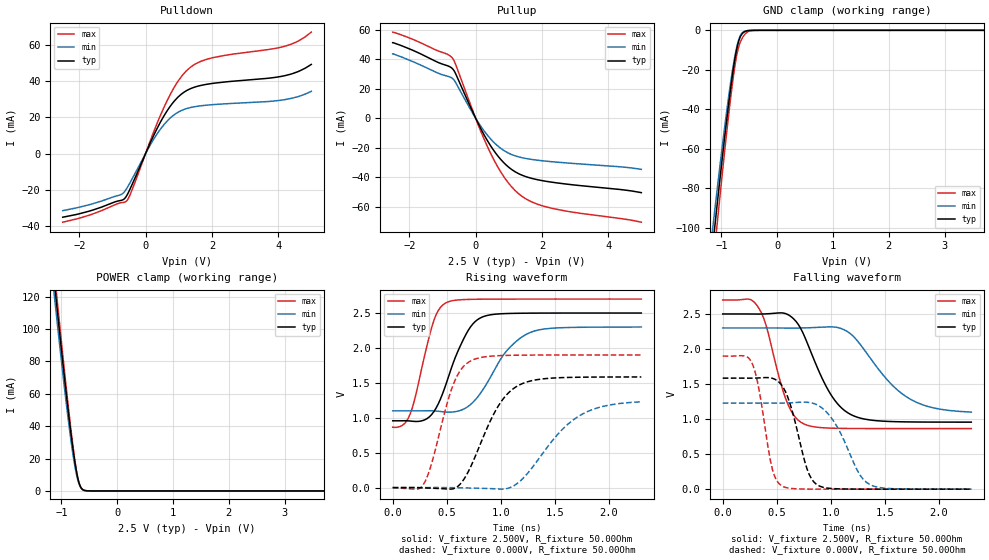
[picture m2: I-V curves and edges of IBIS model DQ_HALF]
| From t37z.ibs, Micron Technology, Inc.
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|   MODEL DQ_HALF
[Model]   DQ_HALF
Model_type   I/O
Vinl = 0.940V
Vinh = 1.560V
Vmeas = 1.250V
Vref = 1.250V
Cref = 30.000pF
Rref = 50.000Ohm
|   typ   min   max
C_comp   3.01pF   2.84pF   3.18pF
[Model Spec]
| Input threshold voltage corners
Vinh   1.560V   1.460V   1.660V
Vinl   0.940V   0.840V   1.040V
| Measurement voltage corners
Vmeas   1.250V   1.150V   1.350V
| Timing spec test load voltage corners
Vref   1.250V   1.150V   1.350V
| Overshoot/Undershoot
S_overshoot_high   2.800V   2.600V   3.000V
S_overshoot_low   -0.300V   NA   NA
[Receiver Thresholds]
Vth   =  1.250V
Vth_min  =  1.225V
Vth_max  =  1.275V
Vinh_ac  =  0.310V
Vinh_dc  =  0.150V
Vinl_ac  = -0.310V
Vinl_dc  = -0.150V
Tslew_ac =  10.000ns |Not specified, so set to high value
[Voltage Range]   2.500V   2.300V   2.700V
| Junction Temperature (Ambient temp is 25C typ, 70C min, 0C max)
[Temperature Range]   40.0   85.0   0.0
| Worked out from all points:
|   slope of the pulldown table from 0 to 0.375 V, typ, clamps not added: 25.2 ohm
|   slope of the pullup table from 0 to 0.375 V, typ, clamps not added: 23.5 ohm
|   GND clamp passes 1 mA (typ) near -0.60 V on its own axis
|   POWER clamp passes 1 mA (typ) near -0.62 V on its own axis
|   falling waveform, V_fixture 2.500V, R_fixture 50.00Ohm: 20-80 % time 285ps typ, 404ps min, 196ps max; typ from 2.5 V to 0.956 V
|   rising waveform, V_fixture 2.500V, R_fixture 50.00Ohm: 20-80 % time 236ps typ, 312ps min, 171ps max; typ from 0.956 V to 2.5 V
|   rising waveform, V_fixture 0.000V, R_fixture 50.00Ohm: 20-80 % time 294ps typ, 413ps min, 205ps max; typ from 0 V to 1.58 V
|   falling waveform, V_fixture 0.000V, R_fixture 50.00Ohm: 20-80 % time 162ps typ, 232ps min, 122ps max; typ from 1.58 V to 0 V
[Pulldown]
|   Voltage   I(typ)   I(min)   I(max)
-2.5V     -35.26mA   -31.62mA   -38.02mA
-1.685V   -31.82mA   -28.27mA   -34.04mA
-780mV    -26.09mA   -22.99mA   -27.38mA
-555mV    -22.86mA   -18.91mA   -25.88mA
-315mV    -13.38mA   -10.93mA   -15.69mA
175mV     7.318mA    5.83mA     8.702mA
575mV     21.49mA    16.46mA    26.39mA
985mV     31.39mA    22.95mA    40.23mA
1.38V     36.15mA    25.6mA     48.17mA
2.08V     39.02mA    27.18mA    53.33mA
4.225V    43.26mA    29.96mA    59.6mA
5V        49.41mA    34.49mA    67.3mA
[GND Clamp]
|   Voltage   I(typ)   I(min)   I(max)
-2.5V     -499.1mA   -469.6mA   -532.1mA
-1.155V   -109.1mA   -100.1mA   -120.6mA
-1.14V    -105.1mA   -96.31mA   -116.2mA
-1.105V   -95.8mA    -87.63mA   -106.2mA
-1.075V   -87.89mA   -80.28mA   -97.74mA
-900mV    -44.05mA   -39.81mA   -50.3mA
-775mV    -17.37mA   -15.58mA   -21.15mA
-725mV    -9.378mA   -8.378mA   -12.51mA
-685mV    -4.955mA   -4.326mA   -7.849mA
-595mV    -860.4uA   -613.7uA   -2.522mA
-372mV    0A         NA         NA
5V        0A         0A         0A
[Pullup]
|   Voltage   I(typ)   I(min)   I(max)
-2.5V     51.17mA    43.56mA    58.29mA
-855mV    35.56mA    28.43mA    43.36mA
-695mV    33.45mA    26.85mA    40.57mA
-595mV    29.76mA    23.83mA    35.99mA
75mV      -3.507mA   -2.715mA   -4.349mA
475mV     -19.54mA   -14.67mA   -24.88mA
675mV     -25.79mA   -19.01mA   -33.33mA
915mV     -31.68mA   -22.83mA   -41.75mA
1.355V    -38.31mA   -26.64mA   -52.31mA
1.725V    -41.08mA   -28.16mA   -57.17mA
2.265V    -43.38mA   -29.52mA   -60.99mA
5V        -50.58mA   -34.78mA   -70.62mA
[POWER Clamp]
|   Voltage   I(typ)   I(min)   I(max)
-2.5V     628.5mA    605.5mA    653.4mA
-1.125V   128.4mA    119.9mA    134.8mA
-1.105V   121.6mA    113.4mA    127.8mA
-1.075V   111.7mA    103.8mA    117.5mA
-910mV    58.85mA    53.16mA    62.53mA
-845mV    39.76mA    35.21mA    42.43mA
-795mV    26.35mA    22.87mA    28.15mA
-745mV    14.79mA    12.59mA    15.65mA
-695mV    6.281mA    5.382mA    6.31mA
-655mV    2.406mA    2.203mA    2.169mA
-605mV    548.9uA    591.9uA    405.1uA
5V        0A         0A         0A
[Ramp]
R_load = 50.00Ohm
|   typ   min   max
dV/dt_r   950.712mV/293.784ps 737.360mV/412.871ps   1.140V/205.287ps
dV/dt_f   926.171mV/284.978ps 720.190mV/404.068ps   1.101V/195.799ps
[Falling Waveform]
V_fixture = 2.500V
V_fixture_min = 2.300V
V_fixture_max = 2.700V
R_fixture = 50.00Ohm
|   Time   V(typ)   V(min)   V(max)
0s        2.5V       2.3V       2.7V
240ps     2.5V       2.3V       2.713V
330ps     2.499V     2.3V       2.593V
400ps     2.501V     2.3V       2.344V
590ps     2.5V       2.299V     1.263V
740ps     2.237V     2.3V       939.7mV
980ps     1.403V     2.315V     872mV
1.18ns    1.069V     2.22V      865.9mV
1.71ns    959.8mV    1.308V     864.4mV
2.3ns     956.4mV    1.1V       864.4mV
[Rising Waveform]
V_fixture = 2.500V
V_fixture_min = 2.300V
V_fixture_max = 2.700V
R_fixture = 50.00Ohm
|   Time   V(typ)   V(min)   V(max)
0s        956.4mV    1.1V       864.4mV
90ps      957mV      1.1V       892.4mV
160ps     953.6mV    1.1V       1.05V
380ps     1.086V     1.099V     2.39V
500ps     1.512V     1.082V     2.652V
680ps     2.201V     1.145V     2.694V
840ps     2.45V      1.416V     2.698V
1.04ns    2.492V     1.931V     2.7V
1.27ns    2.498V     2.22V      2.7V
2.3ns     2.5V       2.3V       2.7V
[Rising Waveform]
V_fixture = 0.000V
V_fixture_min = 0.000V
V_fixture_max = 0.000V
R_fixture = 50.00Ohm
|   Time   V(typ)   V(min)   V(max)
0s        -42.28uV   -51.96uV   -35.58uV
280ps     -3.879mV   -175.4uV   36.64mV
360ps     -8.532mV   837.5uV    344mV
560ps     -17.33mV   -1.165mV   1.475V
720ps     293.9mV    -6.14mV    1.813V
960ps     1.125V     -18.46mV   1.888V
1.16ns    1.46V      68.65mV    1.896V
1.52ns    1.572V     751.3mV    1.899V
1.71ns    1.58V      1.012V     1.899V
2.3ns     1.584V     1.229V     1.899V
[Falling Waveform]
V_fixture = 0.000V
V_fixture_min = 0.000V
V_fixture_max = 0.000V
R_fixture = 50.00Ohm
|   Time   V(typ)   V(min)   V(max)
0s        1.584V     1.229V     1.899V
270ps     1.584V     1.229V     1.801V
340ps     1.588V     1.229V     1.386V
460ps     1.582V     1.229V     280.5mV
560ps     1.451V     1.229V     36.34mV
780ps     289.6mV    1.24V      1.696mV
880ps     56.4mV     1.198V     608.6uV
1.04ns    6.554mV    938.5mV    115.2uV
1.36ns    387.8uV    67.69mV    -25.56uV
2.3ns     -42.28uV   -51.96uV   -35.58uV
